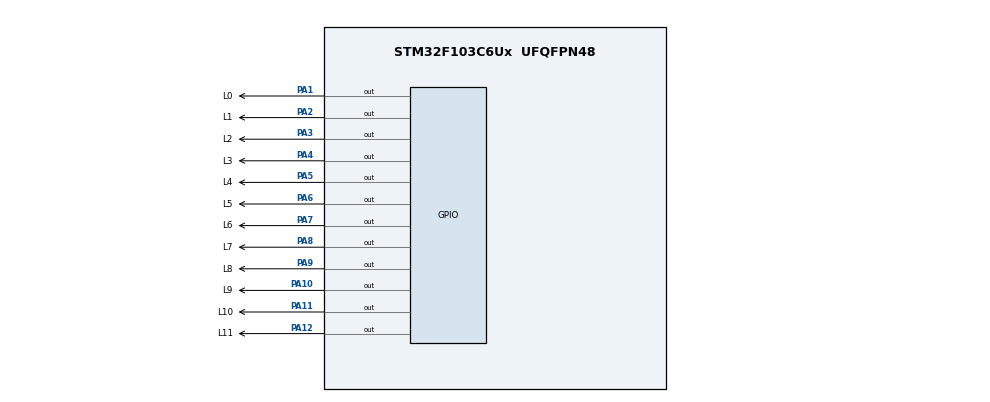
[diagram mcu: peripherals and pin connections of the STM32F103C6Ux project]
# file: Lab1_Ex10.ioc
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Mcu.Family=STM32F1
Mcu.Name=STM32F103C6Ux
Mcu.Package=UFQFPN48
NVIC.PriorityGroup=NVIC_PRIORITYGROUP_4
PA1.GPIO_Label=L0
PA1.Signal=GPIO_Output
PA10.GPIO_Label=L9
PA10.Signal=GPIO_Output
PA11.GPIO_Label=L10
PA11.Signal=GPIO_Output
PA12.GPIO_Label=L11
PA12.Signal=GPIO_Output
PA2.GPIO_Label=L1
PA2.Signal=GPIO_Output
PA3.GPIO_Label=L2
PA3.Signal=GPIO_Output
PA4.GPIO_Label=L3
PA4.Signal=GPIO_Output
PA5.GPIO_Label=L4
PA5.Signal=GPIO_Output
PA6.GPIO_Label=L5
PA6.Signal=GPIO_Output
PA7.GPIO_Label=L6
PA7.Signal=GPIO_Output
PA8.GPIO_Label=L7
PA8.Signal=GPIO_Output
PA9.GPIO_Label=L8
PA9.Signal=GPIO_Output
ProjectManager.HeapSize=0x200
ProjectManager.StackSize=0x400
ProjectManager.TargetToolchain=STM32CubeIDE
RCC.APB1Freq_Value=8000000
RCC.APB2Freq_Value=8000000
VP_SYS_VS_ND.Mode=No_Debug
board=custom

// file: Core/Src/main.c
/* USER CODE BEGIN Header */
/**
  ******************************************************************************
  * @file           : main.c
  * @brief          : Main program body
  ******************************************************************************
  * @attention
  *
  * <h2><center>&copy; Copyright (c) 2023 STMicroelectronics.
  * All rights reserved.</center></h2>
  *
  * This software component is licensed by ST under BSD 3-Clause license,
  * the "License"; You may not use this file except in compliance with the
  * License. You may obtain a copy of the License at:
  *                        opensource.org/licenses/BSD-3-Clause
  *
  ******************************************************************************
  */
/* USER CODE END Header */

#include "main.h"

void SystemClock_Config(void);
static void MX_GPIO_Init(void);

void setNumberOnClock(int count){
	if(count == 0)
		HAL_GPIO_WritePin(L0_GPIO_Port, L0_Pin, SET);
	else if(count == 1)
		HAL_GPIO_WritePin(L1_GPIO_Port, L1_Pin, SET);
	else if(count == 2)
		HAL_GPIO_WritePin(L2_GPIO_Port, L2_Pin, SET);
	else if(count == 3)
		HAL_GPIO_WritePin(L3_GPIO_Port, L3_Pin, SET);
	else if(count == 4)
		HAL_GPIO_WritePin(L4_GPIO_Port, L4_Pin, SET);
	else if(count == 5)
		HAL_GPIO_WritePin(L5_GPIO_Port, L5_Pin, SET);
	else if(count == 6)
		HAL_GPIO_WritePin(L6_GPIO_Port, L6_Pin, SET);
	else if(count == 7)
		HAL_GPIO_WritePin(L7_GPIO_Port, L7_Pin, SET);
	else if(count == 8)
		HAL_GPIO_WritePin(L8_GPIO_Port, L8_Pin, SET);
	else if(count == 9)
		HAL_GPIO_WritePin(L9_GPIO_Port, L9_Pin, SET);
	else if(count == 10)
		HAL_GPIO_WritePin(L10_GPIO_Port, L10_Pin, SET);
	else if(count == 11)
		HAL_GPIO_WritePin(L11_GPIO_Port, L11_Pin, SET);
}
void clearAllClock(){
	HAL_GPIO_WritePin(L0_GPIO_Port, L0_Pin, RESET);
	HAL_GPIO_WritePin(L1_GPIO_Port, L1_Pin, RESET);
	HAL_GPIO_WritePin(L2_GPIO_Port, L2_Pin, RESET);
	HAL_GPIO_WritePin(L3_GPIO_Port, L3_Pin, RESET);
	HAL_GPIO_WritePin(L4_GPIO_Port, L4_Pin, RESET);
	HAL_GPIO_WritePin(L5_GPIO_Port, L5_Pin, RESET);
	HAL_GPIO_WritePin(L6_GPIO_Port, L6_Pin, RESET);
	HAL_GPIO_WritePin(L7_GPIO_Port, L7_Pin, RESET);
	HAL_GPIO_WritePin(L8_GPIO_Port, L8_Pin, RESET);
	HAL_GPIO_WritePin(L9_GPIO_Port, L9_Pin, RESET);
	HAL_GPIO_WritePin(L10_GPIO_Port, L10_Pin, RESET);
	HAL_GPIO_WritePin(L11_GPIO_Port, L11_Pin, RESET);
}
int main(void)
{

  /* MCU Configuration--------------------------------------------------------*/

  /* Reset of all peripherals, Initializes the Flash interface and the Systick. */
  HAL_Init();

  /* Configure the system clock */
  SystemClock_Config();

  /* Initialize all configured peripherals */
  MX_GPIO_Init();

  /* Infinite loop */
  /* USER CODE BEGIN WHILE */
  int sec = 0, min = 0, hour = 0;
  int fixedSec, fixedMin;
  while (1)
  {
	  if(sec % 5 == 0){
		  if(sec == 60){
			  sec = 0;
			  min++;
		  }
		  clearAllClock();
		  fixedSec = sec / 5;
	  }
	  if(min % 5 == 0){
		  if(min == 60){
			  min = 0;
			  hour++;
		  }
		  clearAllClock();
		  fixedMin = min / 5;
	  }
	  setNumberOnClock(fixedSec);
	  setNumberOnClock(fixedMin);
	  setNumberOnClock(hour);
	  if(hour == 12)
		  hour = 0;
	  sec++;
	  HAL_Delay(10);
//	  clearAllClock();

    /* USER CODE END WHILE */

  }
}

void SystemClock_Config(void)
{
  RCC_OscInitTypeDef RCC_OscInitStruct = {0};
  RCC_ClkInitTypeDef RCC_ClkInitStruct = {0};

  /** Initializes the RCC Oscillators according to the specified parameters
  * in the RCC_OscInitTypeDef structure.
  */
  RCC_OscInitStruct.OscillatorType = RCC_OSCILLATORTYPE_HSI;
  RCC_OscInitStruct.HSIState = RCC_HSI_ON;
  RCC_OscInitStruct.HSICalibrationValue = RCC_HSICALIBRATION_DEFAULT;
  RCC_OscInitStruct.PLL.PLLState = RCC_PLL_NONE;
  if (HAL_RCC_OscConfig(&RCC_OscInitStruct) != HAL_OK)
  {
    Error_Handler();
  }
  /** Initializes the CPU, AHB and APB buses clocks
  */
  RCC_ClkInitStruct.ClockType = RCC_CLOCKTYPE_HCLK|RCC_CLOCKTYPE_SYSCLK
                              |RCC_CLOCKTYPE_PCLK1|RCC_CLOCKTYPE_PCLK2;
  RCC_ClkInitStruct.SYSCLKSource = RCC_SYSCLKSOURCE_HSI;
  RCC_ClkInitStruct.AHBCLKDivider = RCC_SYSCLK_DIV1;
  RCC_ClkInitStruct.APB1CLKDivider = RCC_HCLK_DIV1;
  RCC_ClkInitStruct.APB2CLKDivider = RCC_HCLK_DIV1;

  if (HAL_RCC_ClockConfig(&RCC_ClkInitStruct, FLASH_LATENCY_0) != HAL_OK)
  {
    Error_Handler();
  }
}

static void MX_GPIO_Init(void)
{
  GPIO_InitTypeDef GPIO_InitStruct = {0};

  /* GPIO Ports Clock Enable */
  __HAL_RCC_GPIOA_CLK_ENABLE();

  /*Configure GPIO pin Output Level */
  HAL_GPIO_WritePin(GPIOA, L0_Pin|L1_Pin|L2_Pin|L3_Pin
                          |L4_Pin|L5_Pin|L6_Pin|L7_Pin
                          |L8_Pin|L9_Pin|L10_Pin|L11_Pin, GPIO_PIN_RESET);

  /*Configure GPIO pins : L0_Pin L1_Pin L2_Pin L3_Pin
                           L4_Pin L5_Pin L6_Pin L7_Pin
                           L8_Pin L9_Pin L10_Pin L11_Pin */
  GPIO_InitStruct.Pin = L0_Pin|L1_Pin|L2_Pin|L3_Pin
                          |L4_Pin|L5_Pin|L6_Pin|L7_Pin
                          |L8_Pin|L9_Pin|L10_Pin|L11_Pin;
  GPIO_InitStruct.Mode = GPIO_MODE_OUTPUT_PP;
  GPIO_InitStruct.Pull = GPIO_NOPULL;
  GPIO_InitStruct.Speed = GPIO_SPEED_FREQ_LOW;
  HAL_GPIO_Init(GPIOA, &GPIO_InitStruct);

}

void Error_Handler(void)
{
  __disable_irq();
  while (1)
  {
  }
}

/************************ (C) COPYRIGHT STMicroelectronics *****END OF FILE****/
